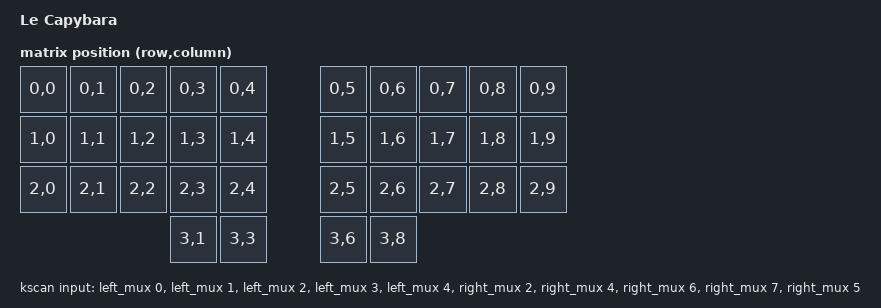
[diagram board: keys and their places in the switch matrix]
/*
 * Copyright (c) 2020 The ZMK Contributors
 *
 * SPDX-License-Identifier: MIT
 */

/dts-v1/;
#include <st/f0/stm32f072Xb.dtsi>
#include <st/f0/stm32f072v(8-b)tx-pinctrl.dtsi>

#include <zephyr/dt-bindings/adc/adc.h>

#include <dt-bindings/zmk/matrix_transform.h>

&adc1 {
	status = "okay";

	pinctrl-0 = <&adc_in2_pa2>;
	pinctrl-names = "default";

	#address-cells = <1>;
	#size-cells = <0>;

	channel@2 {
		reg = <2>;
		zephyr,gain = "ADC_GAIN_1";
		zephyr,reference = "ADC_REF_INTERNAL";
		zephyr,acquisition-time = <ADC_ACQ_TIME_DEFAULT>;
		zephyr,resolution = <12>;
	};
};

/ {
    model = "Le Capybara";
    compatible = "sporkus,le_capybara", "st,stm32f072";

    chosen {
        zephyr,sram = &sram0;
        zephyr,flash = &flash0;
        zephyr,console = &cdc_acm_uart;
        zephyr,shell-uart = &cdc_acm_uart;
        zmk,kscan = &kscan;
        zmk,matrix_transform = &transform;
        zephyr,display = &oled;
        /* TODO: Enable once we support the IC for underglow
        zmk,underglow = &led_strip;
         */
    };

    transform: transform {
        compatible = "zmk,matrix-transform";
        rows = <4>;
        columns = <10>;

        map = <
        RC(0,0) RC(0,1) RC(0,2) RC(0,3) RC(0,4)     RC(0,5) RC(0,6) RC(0,7) RC(0,8) RC(0,9)
        RC(1,0) RC(1,1) RC(1,2) RC(1,3) RC(1,4)     RC(1,5) RC(1,6) RC(1,7) RC(1,8) RC(1,9)
        RC(2,0) RC(2,1) RC(2,2) RC(2,3) RC(2,4)     RC(2,5) RC(2,6) RC(2,7) RC(2,8) RC(2,9)
                        RC(3,1)     RC(3,3)             RC(3,6)     RC(3,8)
        >;
    };

    left_mux: left_mux {
    	compatible = "zmk,gpio-mux";

        select-gpios
            = <&gpiob 15 GPIO_ACTIVE_HIGH>
            , <&gpiob 14 GPIO_ACTIVE_HIGH>
            , <&gpiob 13 GPIO_ACTIVE_HIGH>
            ;

        en-gpios = <&gpioa 8 GPIO_ACTIVE_LOW>;

        gpio-controller;
        ngpios = <8>;
        #gpio-cells = <2>;
    };

    right_mux: right_mux {
    	compatible = "zmk,gpio-mux";

        select-gpios
            = <&gpiob 15 GPIO_ACTIVE_HIGH>
            , <&gpiob 14 GPIO_ACTIVE_HIGH>
            , <&gpiob 13 GPIO_ACTIVE_HIGH>
            ;

        en-gpios = <&gpioc 14 GPIO_ACTIVE_LOW>;

        gpio-controller;
        ngpios = <8>;
        #gpio-cells = <2>;
    };

    kscan: kscan {
        compatible = "zmk,kscan-ec-matrix";

        input-gpios
	        = <&left_mux 0 0>
	        , <&left_mux 1 0>
	        , <&left_mux 2 0>
	        , <&left_mux 3 0>
	        , <&left_mux 4 0>
	        , <&right_mux 2 0>
	        , <&right_mux 4 0>
	        , <&right_mux 6 0>
	        , <&right_mux 7 0>
	        , <&right_mux 5 0>
        ;

        strobe-gpios
            = <&gpioa 3 GPIO_ACTIVE_HIGH>
            , <&gpioa 5 GPIO_ACTIVE_HIGH>
            , <&gpioa 7 GPIO_ACTIVE_HIGH>
            , <&gpiob 1 GPIO_ACTIVE_HIGH>
            ;

        io-channels = <&adc1 2>;
        matrix-relax-us = <150>;

        drain-gpios = <&gpioa 1 GPIO_OPEN_DRAIN>;
    };
};

&i2c1 {
    pinctrl-0 = <&i2c1_scl_pb6 &i2c1_sda_pb7>;
    pinctrl-names = "default";
    // status = "okay";
    clock-frequency = <I2C_BITRATE_FAST>;

    oled: ssd1306@3c {
	status = "disabled";
        compatible = "solomon,ssd1306fb";
        reg = <0x3c>;
        label = "DISPLAY";
        width = <128>;
        height = <32>;
        segment-offset = <0>;
        page-offset = <0>;
        display-offset = <0>;
        multiplex-ratio = <31>;
        segment-remap;
        com-invdir;
        com-sequential;
        prechargep = <0x22>;
    };
};

&usb {
    status = "okay";
    // Overriden to lower RAM usage.
    num-bidir-endpoints = <5>;

    cdc_acm_uart: cdc_acm_uart {
        compatible = "zephyr,cdc-acm-uart";
    };
};

&clk_hsi {
    status = "okay";
};

&pll {
    prediv = <1>;
    mul = <6>;
    clocks = <&clk_hsi>;
    status = "okay";
};

&rcc {
    clocks = <&pll>;
    clock-frequency = <DT_FREQ_M(48)>;
    ahb-prescaler = <1>;
    apb1-prescaler = <1>;
};

&rtc {
    status = "okay";
};

&flash0 {
    /*
     * For more information, see:
     * http: //docs.zephyrproject.org/latest/guides/dts/index.html#flash-partitions
     */
    partitions {
        compatible = "fixed-partitions";
        #address-cells = <1>;
        #size-cells = <1>;

        /* Set 6Kb of storage at the end of the 128Kb of flash */
        storage_partition: partition@3e800 {
            label = "storage";
            reg = <0x0001e800 0x00001800>;
        };
    };
};
